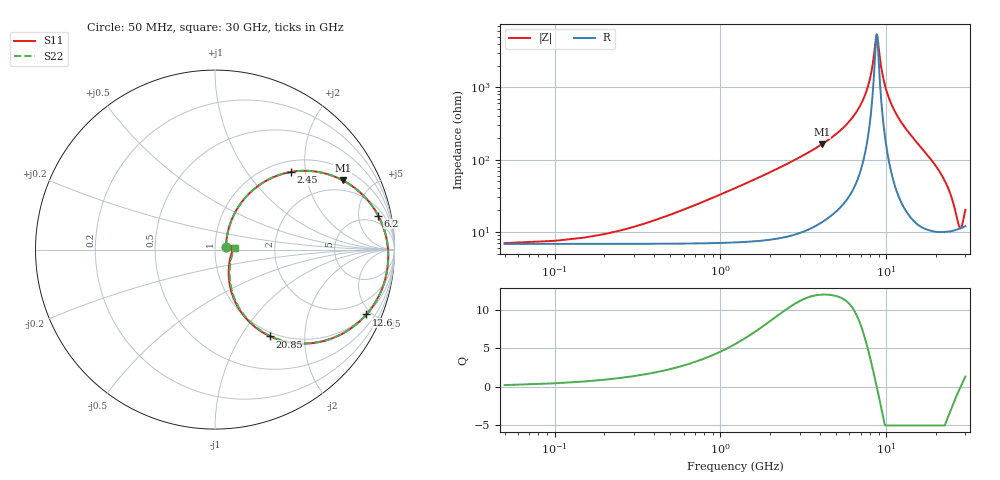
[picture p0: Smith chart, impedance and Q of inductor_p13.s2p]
#  Hz  S  RI  R  50
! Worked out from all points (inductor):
!   600 points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, 50 MHz to 30 GHz, reference 50 ohm
!   read as one part in series: L = 5.05 nH near 650 MHz
!   highest Q = 12 at 4.1 GHz (marker M1), where L = 6.33 nH
!   self-resonance near 8.75 GHz
!   S11 on the Smith chart (normalised r, x): 50 MHz: 1.13, +0.03; 2.45 GHz: 1.22, +1.65; 6.2 GHz: 3.10, +8.57; 12.6 GHz: 1.02, -4.67; 20.85 GHz: 0.94, -1.36; 30 GHz: 1.23, +0.02
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5e7  0.0605 0.0136  0.9325 -0.0142  0.9328 -0.0142  0.0607 0.0136
5.5e8  0.0851 0.1458  0.9072 -0.1528  0.9073 -0.153  0.0852 0.1456
1e9  0.139 0.2512  0.8518 -0.2634  0.8518 -0.2636  0.1389 0.251
1.65e9  0.2542 0.3647  0.7336 -0.3828  0.7335 -0.3829  0.254 0.3646
2.45e9  0.4207 0.4321  0.5645 -0.4553  0.5643 -0.4552  0.4205 0.4323
4.1e9  0.712 0.3857  0.2725 -0.4191  0.2726 -0.4191  0.7119 0.386
5.05e9  0.8226 0.3049  0.1618 -0.3456  0.1618 -0.3457  0.8226 0.3052
6.2e9  0.9091 0.1899  0.0744 -0.2395  0.0743 -0.2394  0.909 0.1904
7.75e9  0.9607 0.0305  0.0217 -0.0914  0.0218 -0.0914  0.9609 0.0311
8.15e9  0.9645 -0.00898  0.0178 -0.0549  0.0179 -0.055  0.9647 -0.00829
8.75e9  0.9643 -0.066  0.0177 -0.00247  0.0177 -0.00255  0.9645 -0.0653
8.9e9  0.9633 -0.0799  0.0187 0.0102  0.0187 0.0101  0.9635 -0.0792
9.45e9  0.9565 -0.1291  0.0251 0.0552  0.0251 0.0551  0.9567 -0.1284
1.005e10  0.9441 -0.1802  0.0371 0.1015  0.037 0.1016  0.9443 -0.1793
1.11e10  0.9111 -0.2621  0.0691 0.1755  0.0691 0.1756  0.9116 -0.2611
1.26e10  0.8439 -0.3611  0.1351 0.263  0.1352 0.263  0.8446 -0.36
1.505e10  0.6996 -0.4737  0.2769 0.3565  0.2769 0.3566  0.7007 -0.4724
2.005e10  0.3586 -0.5037  0.6112 0.3476  0.6113 0.3476  0.3613 -0.5024
2.085e10  0.3082 -0.484  0.6604 0.3217  0.6605 0.3217  0.3111 -0.4829
2.505e10  0.1138 -0.2944  0.8472 0.0993  0.8472 0.0992  0.1183 -0.2943
2.895e10  0.0837 -0.0533  0.869 -0.172  0.869 -0.1724  0.0894 -0.0552
3e10  0.1031 0.0092  0.8473 -0.2432  0.8468 -0.2432  0.1087 0.00686
